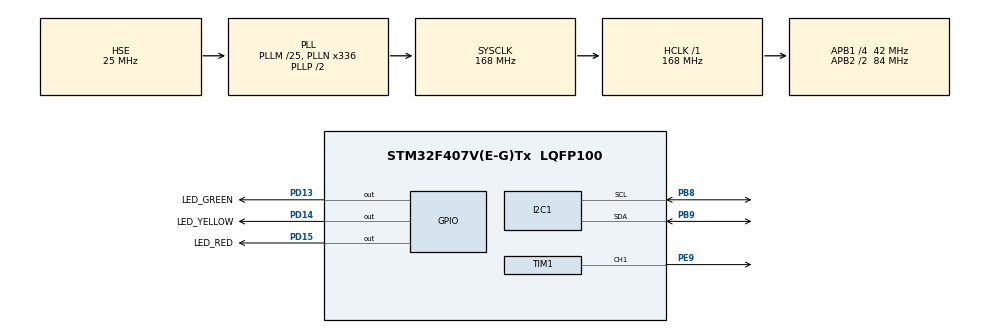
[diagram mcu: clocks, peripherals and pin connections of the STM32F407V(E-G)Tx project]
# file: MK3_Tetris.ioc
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FREERTOS.BinarySemaphores01=drawSem,Dynamic,NULL
FREERTOS.Mutexes01=i2cMutex,Dynamic,NULL;gameMutex,Dynamic,NULL
FREERTOS.Queues01=eventQueue,16,uint16_t,0,Dynamic,NULL,NULL
FREERTOS.Tasks01=InputTask,1,256,StartInputTask,Default,NULL,Dynamic,NULL,NULL;GameTask,0,512,StartGameTask,Default,NULL,Dynamic,NULL,NULL;DrawTask,-1,384,StartDrawTask,Default,NULL,Dynamic,NULL,NULL
FREERTOS.Timers01=fallTimer,FallTimerCallback,osTimerPeriodic,Default,NULL,Dynamic,NULL;beepTimer,BeepTimerCallback,osTimerOnce,Default,NULL,Dynamic,NULL
FREERTOS.configTOTAL_HEAP_SIZE=20480
FREERTOS.configUSE_TIMERS=1
Mcu.Family=STM32F4
Mcu.Name=STM32F407V(E-G)Tx
Mcu.Package=LQFP100
NVIC.PriorityGroup=NVIC_PRIORITYGROUP_4
NVIC.TIM6_DAC_IRQn=true\:15\:0\:false\:false\:true\:false\:false\:true\:true
NVIC.TimeBase=TIM6_DAC_IRQn
NVIC.TimeBaseIP=TIM6
PA13.Mode=JTAG_5_pins
PA13.Signal=SYS_JTMS-SWDIO
PA14.Mode=JTAG_5_pins
PA14.Signal=SYS_JTCK-SWCLK
PA15.Mode=JTAG_5_pins
PA15.Signal=SYS_JTDI
PB3.Mode=JTAG_5_pins
PB3.Signal=SYS_JTDO-SWO
PB4.Mode=JTAG_5_pins
PB4.Signal=SYS_JTRST
PB8.Mode=I2C
PB8.Signal=I2C1_SCL
PB9.Mode=I2C
PB9.Signal=I2C1_SDA
PD13.GPIO_Label=LED_GREEN
PD13.Signal=GPIO_Output
PD14.GPIO_Label=LED_YELLOW
PD14.Signal=GPIO_Output
PD15.GPIO_Label=LED_RED
PD15.Signal=GPIO_Output
PE9.Signal=S_TIM1_CH1
PH0-OSC_IN.Mode=HSE-External-Oscillator
PH0-OSC_IN.Signal=RCC_OSC_IN
PH1-OSC_OUT.Mode=HSE-External-Oscillator
PH1-OSC_OUT.Signal=RCC_OSC_OUT
ProjectManager.HeapSize=0x200
ProjectManager.StackSize=0x400
ProjectManager.TargetToolchain=STM32CubeIDE
RCC.48MHZClocksFreq_Value=84000000
RCC.AHBFreq_Value=168000000
RCC.APB1CLKDivider=RCC_HCLK_DIV4
RCC.APB1Freq_Value=42000000
RCC.APB1TimFreq_Value=84000000
RCC.APB2CLKDivider=RCC_HCLK_DIV2
RCC.APB2Freq_Value=84000000
RCC.APB2TimFreq_Value=168000000
RCC.CortexFreq_Value=168000000
RCC.HCLKFreq_Value=168000000
RCC.HSE_VALUE=25000000
RCC.HSI_VALUE=16000000
RCC.LSE_VALUE=32768
RCC.PLLM=25
RCC.PLLN=336
RCC.PLLSourceVirtual=RCC_PLLSOURCE_HSE
RCC.SYSCLKFreq_VALUE=168000000
RCC.SYSCLKSource=RCC_SYSCLKSOURCE_PLLCLK
RCC.VCOOutputFreq_Value=336000000
SH.S_TIM1_CH1.0=TIM1_CH1,PWM Generation1 CH1
TIM1.Channel-PWM\ Generation1\ CH1=TIM_CHANNEL_1
TIM1.Period=999
TIM1.Prescaler=167
VP_FREERTOS_VS_CMSIS_V1.Mode=CMSIS_V1
VP_SYS_VS_tim6.Mode=TIM6
board=custom

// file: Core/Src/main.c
/* USER CODE BEGIN Header */
/**
  ******************************************************************************
  * @file           : main.c
  * @brief          : Main program body
  ******************************************************************************
  * @attention
  *
  * Copyright (c) 2026 STMicroelectronics.
  * All rights reserved.
  *
  * This software is licensed under terms that can be found in the LICENSE file
  * in the root directory of this software component.
  * If no LICENSE file comes with this software, it is provided AS-IS.
  *
  ******************************************************************************
  */
/* USER CODE END Header */
#include "main.h"
#include "cmsis_os.h"
#include "i2c.h"
#include "tim.h"
#include "gpio.h"

/* USER CODE BEGIN Includes */
#include "oled.h"
/* USER CODE END Includes */

void SystemClock_Config(void);
void MX_FREERTOS_Init(void);

int main(void)
{

  /* MCU Configuration--------------------------------------------------------*/

  /* Reset of all peripherals, Initializes the Flash interface and the Systick. */
  HAL_Init();

  /* Configure the system clock */
  SystemClock_Config();

  /* Initialize all configured peripherals */
  MX_GPIO_Init();
  MX_I2C1_Init();
  MX_TIM1_Init();
  /* USER CODE BEGIN 2 */
  // инициализация дисплея до старта FreeRTOS (там используется HAL_Delay)
  oled_Init();
  /* USER CODE END 2 */

  /* Call init function for freertos objects (in cmsis_os2.c) */
  MX_FREERTOS_Init();

  /* Start scheduler */
  osKernelStart();

  /* We should never get here as control is now taken by the scheduler */

  /* Infinite loop */
  while (1)
  {

  }
}

void SystemClock_Config(void)
{
  RCC_OscInitTypeDef RCC_OscInitStruct = {0};
  RCC_ClkInitTypeDef RCC_ClkInitStruct = {0};

  /** Configure the main internal regulator output voltage
  */
  __HAL_RCC_PWR_CLK_ENABLE();
  __HAL_PWR_VOLTAGESCALING_CONFIG(PWR_REGULATOR_VOLTAGE_SCALE1);

  /** Initializes the RCC Oscillators according to the specified parameters
  * in the RCC_OscInitTypeDef structure.
  */
  RCC_OscInitStruct.OscillatorType = RCC_OSCILLATORTYPE_HSE;
  RCC_OscInitStruct.HSEState = RCC_HSE_ON;
  RCC_OscInitStruct.PLL.PLLState = RCC_PLL_ON;
  RCC_OscInitStruct.PLL.PLLSource = RCC_PLLSOURCE_HSE;
  RCC_OscInitStruct.PLL.PLLM = 25;
  RCC_OscInitStruct.PLL.PLLN = 336;
  RCC_OscInitStruct.PLL.PLLP = RCC_PLLP_DIV2;
  RCC_OscInitStruct.PLL.PLLQ = 4;
  if (HAL_RCC_OscConfig(&RCC_OscInitStruct) != HAL_OK)
  {
    Error_Handler();
  }

  /** Initializes the CPU, AHB and APB buses clocks
  */
  RCC_ClkInitStruct.ClockType = RCC_CLOCKTYPE_HCLK|RCC_CLOCKTYPE_SYSCLK
                              |RCC_CLOCKTYPE_PCLK1|RCC_CLOCKTYPE_PCLK2;
  RCC_ClkInitStruct.SYSCLKSource = RCC_SYSCLKSOURCE_PLLCLK;
  RCC_ClkInitStruct.AHBCLKDivider = RCC_SYSCLK_DIV1;
  RCC_ClkInitStruct.APB1CLKDivider = RCC_HCLK_DIV4;
  RCC_ClkInitStruct.APB2CLKDivider = RCC_HCLK_DIV2;

  if (HAL_RCC_ClockConfig(&RCC_ClkInitStruct, FLASH_LATENCY_5) != HAL_OK)
  {
    Error_Handler();
  }
}

void HAL_TIM_PeriodElapsedCallback(TIM_HandleTypeDef *htim)
{
  if (htim->Instance == TIM6)
  {
    HAL_IncTick();
  }
}

void Error_Handler(void)
{
  __disable_irq();
  while (1)
  {
  }
}

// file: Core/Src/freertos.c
/* USER CODE BEGIN Header */
/**
  ******************************************************************************
  * File Name          : freertos.c
  * Description        : Code for freertos applications
  ******************************************************************************
  * @attention
  *
  * Copyright (c) 2026 STMicroelectronics.
  * All rights reserved.
  *
  * This software is licensed under terms that can be found in the LICENSE file
  * in the root directory of this software component.
  * If no LICENSE file comes with this software, it is provided AS-IS.
  *
  ******************************************************************************
  */
/* USER CODE END Header */

#include "FreeRTOS.h"
#include "task.h"
#include "main.h"
#include "cmsis_os.h"

/* USER CODE BEGIN Includes */
#include "kb.h"
#include "oled.h"
#include "buzzer.h"
#include "tetris.h"
/* USER CODE END Includes */

/* USER CODE BEGIN PD */
// в очередь eventQueue пишут два источника: задача клавиатуры (код кнопки)
// и программный таймер (событие падения), чтобы их различать падение имеет код больше 0xFF
#define EVT_FALL  0x100

#define KB_PERIOD     20   // период опроса клавиатуры, мс
#define REPEAT_START  300  // через сколько мс удержания кнопка начинает повторяться
#define REPEAT_PERIOD 100  // период повтора, мс
/* USER CODE END PD */

osThreadId InputTaskHandle;
osThreadId GameTaskHandle;
osThreadId DrawTaskHandle;
osMessageQId eventQueueHandle;
osTimerId fallTimerHandle;
osTimerId beepTimerHandle;
osMutexId i2cMutexHandle;
osMutexId gameMutexHandle;
osSemaphoreId drawSemHandle;

/* USER CODE BEGIN FunctionPrototypes */
static void Beep(uint32_t freq, uint32_t ms);
static void UpdateLeds(void);
/* USER CODE END FunctionPrototypes */

void StartInputTask(void const * argument);
void StartGameTask(void const * argument);
void StartDrawTask(void const * argument);
void FallTimerCallback(void const * argument);
void BeepTimerCallback(void const * argument);

void MX_FREERTOS_Init(void); /* (MISRA C 2004 rule 8.1) */

/* GetIdleTaskMemory prototype (linked to static allocation support) */
void vApplicationGetIdleTaskMemory( StaticTask_t **ppxIdleTaskTCBBuffer, StackType_t **ppxIdleTaskStackBuffer, uint32_t *pulIdleTaskStackSize );

/* GetTimerTaskMemory prototype (linked to static allocation support) */
void vApplicationGetTimerTaskMemory( StaticTask_t **ppxTimerTaskTCBBuffer, StackType_t **ppxTimerTaskStackBuffer, uint32_t *pulTimerTaskStackSize );

/* USER CODE BEGIN GET_IDLE_TASK_MEMORY */
static StaticTask_t xIdleTaskTCBBuffer;
static StackType_t xIdleStack[configMINIMAL_STACK_SIZE];

void vApplicationGetIdleTaskMemory( StaticTask_t **ppxIdleTaskTCBBuffer, StackType_t **ppxIdleTaskStackBuffer, uint32_t *pulIdleTaskStackSize )
{
  *ppxIdleTaskTCBBuffer = &xIdleTaskTCBBuffer;
  *ppxIdleTaskStackBuffer = &xIdleStack[0];
  *pulIdleTaskStackSize = configMINIMAL_STACK_SIZE;
  /* place for user code */
}
/* USER CODE END GET_IDLE_TASK_MEMORY */

/* USER CODE BEGIN GET_TIMER_TASK_MEMORY */
static StaticTask_t xTimerTaskTCBBuffer;
static StackType_t xTimerStack[configTIMER_TASK_STACK_DEPTH];

void vApplicationGetTimerTaskMemory( StaticTask_t **ppxTimerTaskTCBBuffer, StackType_t **ppxTimerTaskStackBuffer, uint32_t *pulTimerTaskStackSize )
{
  *ppxTimerTaskTCBBuffer = &xTimerTaskTCBBuffer;
  *ppxTimerTaskStackBuffer = &xTimerStack[0];
  *pulTimerTaskStackSize = configTIMER_TASK_STACK_DEPTH;
  /* place for user code */
}
/* USER CODE END GET_TIMER_TASK_MEMORY */

void MX_FREERTOS_Init(void) {
  /* Create the mutex(es) */
  /* definition and creation of i2cMutex */
  osMutexDef(i2cMutex);
  i2cMutexHandle = osMutexCreate(osMutex(i2cMutex));

  /* definition and creation of gameMutex */
  osMutexDef(gameMutex);
  gameMutexHandle = osMutexCreate(osMutex(gameMutex));

  /* Create the semaphores(s) */
  /* definition and creation of drawSem */
  osSemaphoreDef(drawSem);
  drawSemHandle = osSemaphoreCreate(osSemaphore(drawSem), 1);

  /* Create the timer(s) */
  /* definition and creation of fallTimer */
  osTimerDef(fallTimer, FallTimerCallback);
  fallTimerHandle = osTimerCreate(osTimer(fallTimer), osTimerPeriodic, NULL);

  /* definition and creation of beepTimer */
  osTimerDef(beepTimer, BeepTimerCallback);
  beepTimerHandle = osTimerCreate(osTimer(beepTimer), osTimerOnce, NULL);

  /* Create the queue(s) */
  /* definition and creation of eventQueue */
  osMessageQDef(eventQueue, 16, uint16_t);
  eventQueueHandle = osMessageCreate(osMessageQ(eventQueue), NULL);

  /* Create the thread(s) */
  /* definition and creation of InputTask */
  osThreadDef(InputTask, StartInputTask, osPriorityAboveNormal, 0, 256);
  InputTaskHandle = osThreadCreate(osThread(InputTask), NULL);

  /* definition and creation of GameTask */
  osThreadDef(GameTask, StartGameTask, osPriorityNormal, 0, 512);
  GameTaskHandle = osThreadCreate(osThread(GameTask), NULL);

  /* definition and creation of DrawTask */
  osThreadDef(DrawTask, StartDrawTask, osPriorityBelowNormal, 0, 384);
  DrawTaskHandle = osThreadCreate(osThread(DrawTask), NULL);

}

void StartInputTask(void const * argument)
{
  /* USER CODE BEGIN StartInputTask */
  char key;
  char lastKey = 0;
  uint32_t holdTime = 0;

  /* Infinite loop */
  for(;;)
  {
    // шина I2C общая с дисплеем
    osMutexWait(i2cMutexHandle, osWaitForever);
    key = KB_Scan();
    osMutexRelease(i2cMutexHandle);

    if (key != 0 && key != lastKey) {
      // новое нажатие
      osMessagePut(eventQueueHandle, key, 0);
      holdTime = 0;
    } else if (key != 0 && (key == '4' || key == '6' || key == '8')) {
      // кнопки движения при удержании повторяются
      holdTime += KB_PERIOD;
      if (holdTime >= REPEAT_START) {
        osMessagePut(eventQueueHandle, key, 0);
        holdTime = REPEAT_START - REPEAT_PERIOD;
      }
    }
    lastKey = key;

    osDelay(KB_PERIOD);
  }
  /* USER CODE END StartInputTask */
}

void StartGameTask(void const * argument)
{
  /* USER CODE BEGIN StartGameTask */
  osEvent event;
  uint8_t res;
  uint32_t speed;
  uint32_t oldSpeed;

  Tetris_Init();
  UpdateLeds();
  osSemaphoreRelease(drawSemHandle);

  // таймер падения работает всегда, в меню и на паузе событие просто игнорируется
  oldSpeed = Tetris_GetSpeed();
  osTimerStart(fallTimerHandle, oldSpeed);

  /* Infinite loop */
  for(;;)
  {
    event = osMessageGet(eventQueueHandle, osWaitForever);
    if (event.status != osEventMessage) {
      continue;
    }

    // состояние игры читает еще задача отрисовки, поэтому меняем его под мьютексом
    osMutexWait(gameMutexHandle, osWaitForever);
    if (event.value.v == EVT_FALL) {
      res = Tetris_Fall();
    } else {
      res = Tetris_Key((char)event.value.v);
    }
    speed = Tetris_GetSpeed();
    osMutexRelease(gameMutexHandle);

    if (res == RES_NONE) {
      continue;
    }

    if (res == RES_LOCK) Beep(400, 30);
    if (res == RES_LINES) Beep(1500, 150);
    if (res == RES_OVER) Beep(200, 700);

    // с новым уровнем фигуры падают быстрее
    if (speed != oldSpeed) {
      osTimerStart(fallTimerHandle, speed);
      oldSpeed = speed;
    }

    UpdateLeds();
    osSemaphoreRelease(drawSemHandle);
  }
  /* USER CODE END StartGameTask */
}

void StartDrawTask(void const * argument)
{
  /* USER CODE BEGIN StartDrawTask */
  /* Infinite loop */
  for(;;)
  {
    // ждем сигнала от игры что надо перерисовать экран
    osSemaphoreWait(drawSemHandle, osWaitForever);

    // буфер дисплея трогает только эта задача, а состояние игры защищено мьютексом
    osMutexWait(gameMutexHandle, osWaitForever);
    Tetris_Draw();
    osMutexRelease(gameMutexHandle);

    // отправка буфера на дисплей долгая (~100 мс), в это время игра может работать дальше
    osMutexWait(i2cMutexHandle, osWaitForever);
    oled_UpdateScreen();
    osMutexRelease(i2cMutexHandle);
  }
  /* USER CODE END StartDrawTask */
}

/* FallTimerCallback function */
void FallTimerCallback(void const * argument)
{
  /* USER CODE BEGIN FallTimerCallback */
  // в функции таймера нельзя блокироваться, поэтому таймаут 0
  osMessagePut(eventQueueHandle, EVT_FALL, 0);
  /* USER CODE END FallTimerCallback */
}

/* BeepTimerCallback function */
void BeepTimerCallback(void const * argument)
{
  /* USER CODE BEGIN BeepTimerCallback */
  Buzzer_Off();
  /* USER CODE END BeepTimerCallback */
}

/* USER CODE BEGIN Application */

// включаем звук, а выключит его однократный программный таймер beepTimer
static void Beep(uint32_t freq, uint32_t ms)
{
  Buzzer_On(freq);
  osTimerStart(beepTimerHandle, ms);
}

// зеленый - игра идет, желтый - пауза, красный - конец игры
static void UpdateLeds(void)
{
  uint8_t st = Tetris_GetState();

  HAL_GPIO_WritePin(LED_GREEN_GPIO_Port, LED_GREEN_Pin, st == GAME_RUN ? GPIO_PIN_SET : GPIO_PIN_RESET);
  HAL_GPIO_WritePin(LED_YELLOW_GPIO_Port, LED_YELLOW_Pin, st == GAME_PAUSE ? GPIO_PIN_SET : GPIO_PIN_RESET);
  HAL_GPIO_WritePin(LED_RED_GPIO_Port, LED_RED_Pin, st == GAME_OVER ? GPIO_PIN_SET : GPIO_PIN_RESET);
}

/* USER CODE END Application */
